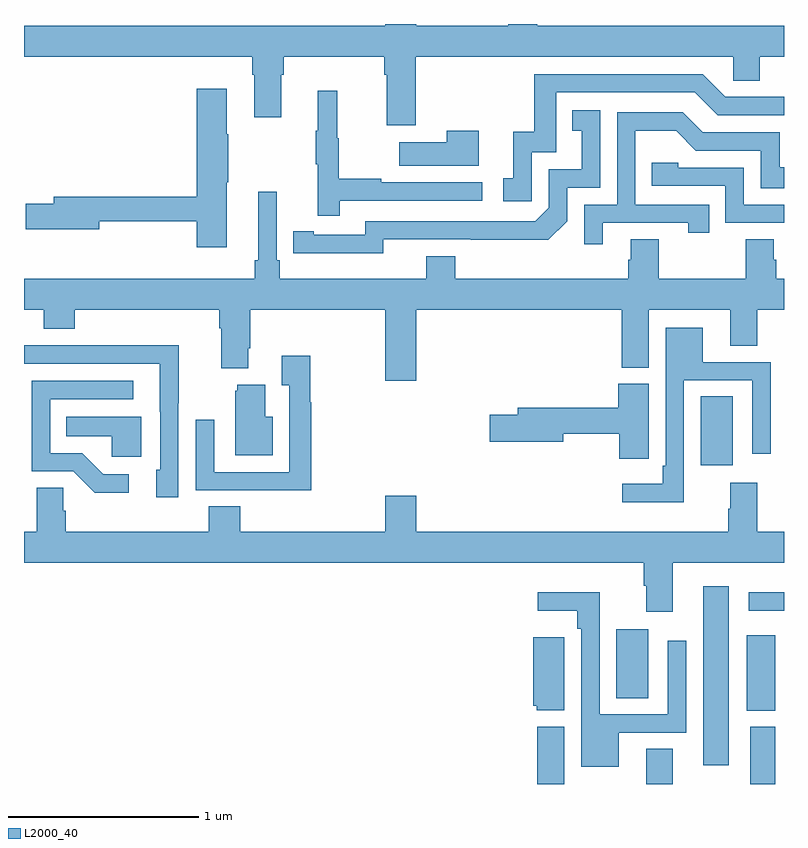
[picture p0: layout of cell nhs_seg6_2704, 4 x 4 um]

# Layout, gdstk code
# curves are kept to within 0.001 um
import gdstk
lib = gdstk.Library(unit=1e-6, precision=1e-09)
def R(c, l, rs):  # rectangles x0, y0, x1, y1
    for r in rs: c.add(gdstk.rectangle(r[:2], r[2:], *l))
def P(c, l, *ps):  # polygons
    for p in ps: c.add(gdstk.Polygon(p, *l))
L2000_40 = (2000, 40)

nhs_seg6_2704 = lib.new_cell('nhs_seg6_2704')
R(nhs_seg6_2704, L2000_40, [(273.701,951.5,273.844,951.802), (274.274,951.5,274.414,951.686), (274.823,951.5,274.954,951.801), (274.574,951.6,274.708,952.54), (274.805,951.886,274.954,952.282), (274.118,951.952,274.285,952.315), (274.815,952.412,275,952.51), (274.562,953.178,274.729,953.54)])
P(nhs_seg6_2704, L2000_40, [(274.734,955.201),(274.873,955.201),(274.873,955.328),(275,955.328),(275,955.492),(273.701,955.492),(273.701,955.5),(273.548,955.5),(273.548,955.492),(273.064,955.492),(273.064,955.5),(272.9,955.5),(272.9,955.492),(271,955.492),(271,955.328),(272.201,955.328),(272.201,955.232),(272.213,955.232),(272.213,955.008),(272.353,955.008),(272.353,955.232),(272.366,955.232),(272.366,955.328),(272.897,955.328),(272.897,955.232),(272.909,955.232),(272.909,954.966),(273.062,954.966),(273.062,955.328),(274.734,955.328)],
  [(273.672,954.825),(273.801,954.825),(273.801,955.14),(274.53,955.14),(274.65,955.02),(275,955.02),(275,955.116),(274.692,955.116),(274.572,955.236),(273.685,955.236),(273.685,954.934),(273.575,954.934),(273.575,954.687),(273.522,954.687),(273.522,954.567),(273.672,954.567)],
  [(272.068,954.667),(272.076,954.667),(272.076,954.92),(272.068,954.92),(272.068,955.159),(271.91,955.159),(271.91,954.59),(271.157,954.59),(271.157,954.554),(271.008,954.554),(271.008,954.419),(271.396,954.419),(271.396,954.462),(271.91,954.462),(271.91,954.324),(272.068,954.324)],
  [(272.663,954.57),(273.412,954.57),(273.412,954.666),(272.879,954.666),(272.879,954.686),(272.656,954.686),(272.656,954.9),(272.648,954.9),(272.648,955.15),(272.546,955.15),(272.546,954.937),(272.535,954.937),(272.535,954.763),(272.546,954.763),(272.546,954.492),(272.663,954.492)],
  [(272.892,954.366),(273.76,954.365),(273.858,954.462),(273.858,954.639),(274.032,954.639),(274.032,955.045),(273.886,955.045),(273.886,954.939),(273.935,954.939),(273.935,954.735),(273.762,954.735),(273.762,954.534),(273.69,954.462),(272.796,954.462),(272.796,954.39),(272.524,954.39),(272.524,954.41),(272.416,954.41),(272.416,954.294),(272.892,954.293)],
  [(274.045,954.453),(274.496,954.453),(274.496,954.402),(274.607,954.402),(274.607,954.549),(274.218,954.549),(274.218,954.938),(274.432,954.938),(274.536,954.834),(274.878,954.834),(274.878,954.636),(275,954.636),(275,954.745),(274.977,954.745),(274.977,954.93),(274.573,954.93),(274.468,955.035),(274.122,955.035),(274.122,954.549),(273.948,954.549),(273.948,954.342),(274.045,954.342)],
  [(273.394,954.937),(273.224,954.937),(273.224,954.877),(272.975,954.877),(272.975,954.755),(273.394,954.755)],
  [(275,954.549),(274.788,954.549),(274.788,954.744),(274.443,954.744),(274.443,954.771),(274.303,954.771),(274.303,954.648),(274.692,954.648),(274.692,954.453),(275,954.453)],
  [(273.064,953.996),(274.145,953.996),(274.145,953.692),(274.288,953.692),(274.288,953.996),(274.718,953.996),(274.718,953.806),(274.858,953.806),(274.858,953.996),(275,953.996),(275,954.16),(274.958,954.16),(274.958,954.258),(274.945,954.258),(274.945,954.368),(274.798,954.368),(274.798,954.16),(274.341,954.16),(274.341,954.368),(274.193,954.368),(274.193,954.258),(274.181,954.258),(274.181,954.16),(273.269,954.16),(273.269,954.277),(273.116,954.277),(273.116,954.16),(272.345,954.16),(272.345,954.256),(272.331,954.256),(272.331,954.616),(272.234,954.616),(272.234,954.256),(272.215,954.256),(272.215,954.16),(271,954.16),(271,953.996),(271.103,953.996),(271.103,953.897),(271.268,953.897),(271.268,953.996),(272.027,953.996),(272.027,953.9),(272.039,953.9),(272.039,953.687),(272.179,953.687),(272.179,953.794),(272.192,953.794),(272.192,953.996),(272.9,953.996),(272.9,953.622),(273.064,953.622)],
  [(274.473,953.625),(274.833,953.625),(274.833,953.238),(274.929,953.238),(274.929,953.721),(274.573,953.721),(274.573,953.902),(274.377,953.902),(274.377,953.176),(274.361,953.176),(274.361,953.08),(274.149,953.08),(274.149,952.982),(274.473,952.982)],
  [(271.812,953.503),(271.815,953.503),(271.815,953.81),(271.351,953.81),(271.351,953.808),(271,953.808),(271,953.712),(271.715,953.712),(271.715,953.458),(271.716,953.458),(271.716,953.154),(271.697,953.154),(271.697,953.01),(271.812,953.01)],
  [(272.513,953.51),(272.506,953.51),(272.506,953.755),(272.357,953.755),(272.357,953.599),(272.397,953.599),(272.397,953.142),(272.001,953.142),(272.001,953.416),(271.905,953.416),(271.905,953.046),(272.221,953.046),(272.221,953.045),(272.513,953.045)],
  [(271.552,953.13),(271.417,953.13),(271.306,953.241),(271.137,953.241),(271.137,953.526),(271.576,953.526),(271.576,953.622),(271.041,953.622),(271.041,953.145),(271.26,953.145),(271.373,953.033),(271.552,953.033)],
  [(274.287,953.323),(274.288,953.323),(274.288,953.607),(274.127,953.607),(274.127,953.48),(273.599,953.48),(273.599,953.444),(273.45,953.444),(273.45,953.302),(273.838,953.302),(273.838,953.344),(274.132,953.344),(274.132,953.211),(274.287,953.211)],
  [(272.308,953.434),(272.269,953.434),(272.269,953.602),(272.123,953.602),(272.123,953.571),(272.111,953.571),(272.111,953.231),(272.308,953.231)],
  [(271.618,953.434),(271.222,953.434),(271.222,953.33),(271.461,953.33),(271.461,953.222),(271.618,953.222)],
  [(274.414,952.664),(275,952.664),(275,952.828),(274.858,952.828),(274.858,953.086),(274.718,953.086),(274.718,952.949),(274.706,952.949),(274.706,952.828),(273.064,952.828),(273.064,953.017),(272.9,953.017),(272.9,952.828),(272.138,952.828),(272.138,952.961),(271.973,952.961),(271.973,952.828),(271.22,952.828),(271.22,952.937),(271.206,952.937),(271.206,953.06),(271.067,953.06),(271.067,952.828),(271,952.828),(271,952.664),(274.262,952.664),(274.262,952.544),(274.274,952.544),(274.274,952.407),(274.414,952.407)],
  [(274.129,951.771),(274.485,951.771),(274.485,952.255),(274.389,952.255),(274.389,951.867),(274.029,951.867),(274.029,952.51),(273.705,952.51),(273.705,952.412),(273.913,952.412),(273.913,952.316),(273.933,952.316),(273.933,951.59),(274.129,951.59)],
  [(273.844,952.273),(273.68,952.273),(273.68,951.912),(273.699,951.912),(273.699,951.887),(273.844,951.887)])

lib.write_gds('nhs_seg6_2704.gds')
